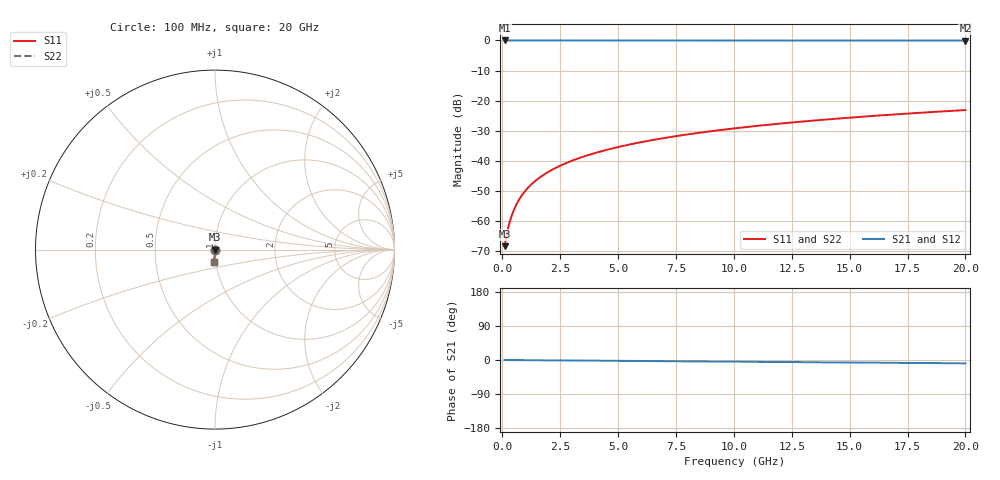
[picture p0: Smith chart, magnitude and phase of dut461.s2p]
! Touchstone file exported from HFSS 2026.1.0
!  File:  C:/ffzhzh/LocalFiles/Ansys_Project_Files/temp_train_TSV_461_1783022001_55676.aedt
!  Generated:  03:54:53 AM Jul  3, 2026
!  Design:  TSV
!  Project:  temp_train_TSV_461_1783022001_55676
! Variables:
!  h_bsmrdl = 2um
!  h_ox = 20um
!  h_rdl = 5um
!  h_sub = 85.72um
!  h_tmrdl = 5um
!  h_tsv = 85.72um
!  h_via = 3um
!  l_bsmrdl = 300um
!  l_sub = 413.42um
!  l_tmrdl = 200um
!  m_sub = 200um
!  pitch = 18.19um
!  r_tsv = 6.71um
!  s_tmrdl = 10um
!  w_bsmrdl = 18um
!  w_sub = 500um
!  w_tmrdl = 12um
!  x_tsv_center1 = 206um
!  x_tsv_center2 = 524um
!  x_tsv_center3 = 736um
!  x_tsv_center4 = 1054um
!  x_tsv_center5 = 1266um
!  x_tsv_center6 = 1584um
# GHz S MA R 50.000000
! Terminal data exported
! Port[1] = TSV1_1_T1
! Port[2] = TSV1_1_T2
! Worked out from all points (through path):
!   200 points, 100 MHz to 20 GHz, reference 50 ohm
!   highest |S21| = 0.00 dB at 100 MHz (marker M1); lowest = 0.0 dB at 20 GHz (marker M2)
!   group delay of S21, straight-line fit = 1.22 ps
!   lowest |S11| = -68.3 dB at 100 MHz (marker M3), VSWR 1.00, Z = 50 - j0.0273 ohm
!   |S11| at or under -10 dB: start of sweep to end of sweep
!   |S22| runs from -68.3 to -23.1 dB; largest |S21 - S12| = 2.1e-15
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0.1  0.0003858 -44.9  0.9997 -0.0  0.9997 -0.0  0.0003858 -44.9
! Gamma 0 0 0 0
! Port Impedance 50 0 50 0
0.2  0.0006303 -61.5  0.9997 -0.1  0.9997 -0.1  0.0006303 -61.5
0.3  0.0009145 -68.3  0.9997 -0.1  0.9997 -0.1  0.0009145 -68.3
0.4  0.00122 -71.9  0.9996 -0.2  0.9996 -0.2  0.00122 -71.9
0.5  0.00154 -74.2  0.9996 -0.2  0.9996 -0.2  0.00154 -74.2
0.6  0.001868 -75.9  0.9995 -0.3  0.9995 -0.3  0.001868 -75.9
0.8  0.00254 -78.4  0.9995 -0.4  0.9995 -0.4  0.00254 -78.4
1.1  0.00356 -80.9  0.9994 -0.5  0.9994 -0.5  0.00356 -80.9
1.3  0.004242 -82.1  0.9994 -0.6  0.9994 -0.6  0.004242 -82.1
1.5  0.004925 -83.0  0.9993 -0.7  0.9993 -0.7  0.004925 -83.0
1.8  0.00595 -84.0  0.9993 -0.8  0.9993 -0.8  0.00595 -84.0
2.1  0.006976 -84.8  0.9992 -1.0  0.9992 -1.0  0.006976 -84.8
2.7  0.009034 -86.0  0.9991 -1.2  0.9991 -1.2  0.009034 -86.0
3.5  0.0118 -87.0  0.999 -1.6  0.999 -1.6  0.0118 -87.0
4.2  0.01423 -87.7  0.9989 -1.9  0.9989 -1.9  0.01423 -87.7
5  0.01703 -88.4  0.9987 -2.2  0.9987 -2.2  0.01703 -88.4
6.8  0.02336 -89.7  0.9984 -3.0  0.9984 -3.0  0.02336 -89.7
8.3  0.02866 -90.7  0.9981 -3.7  0.9981 -3.7  0.02866 -90.7
10.1  0.03503 -91.8  0.9977 -4.5  0.9977 -4.5  0.03503 -91.8
13.4  0.0467 -93.6  0.997 -5.9  0.997 -5.9  0.0467 -93.6
16.7  0.05835 -95.3  0.9962 -7.4  0.9962 -7.4  0.05835 -95.3
20  0.06999 -96.9  0.9952 -8.8  0.9952 -8.8  0.06999 -96.9
